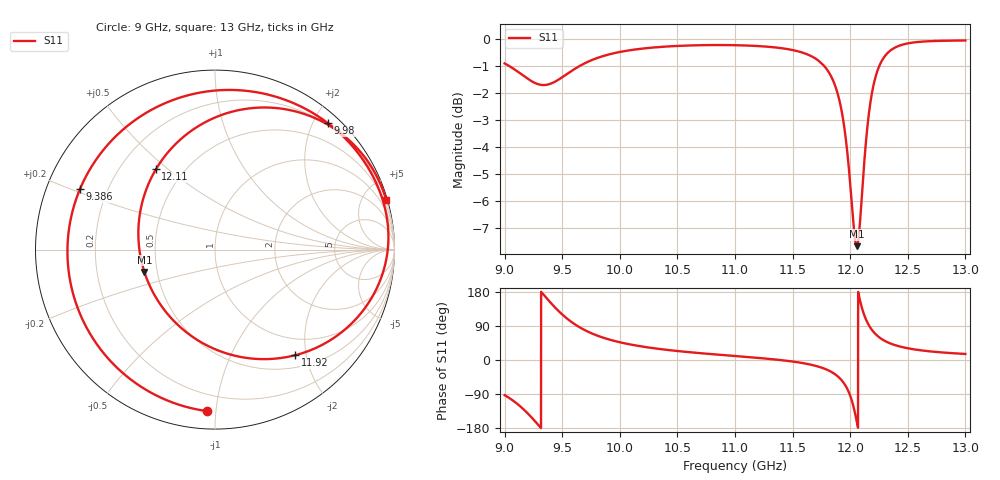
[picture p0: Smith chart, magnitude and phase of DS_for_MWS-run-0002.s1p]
! TOUCHSTONE file generated by CST DESIGN STUDIO
! Date and time: Wed Feb  5 13:44:13 2025
! Project name: C:\Work\MatlabApps\UnitCellOptimizationMatlab\CST\unitcell.cst
! Tree item: Tasks\Sweep1\SPara1\S-Parameters
! Header version: 2024
! Port assignment regex: !\s*Touchstone port\s*([0-9]+)\s*=\s*(CST MWS port|CST DES external port|CST DES block port)\s*(.+)\s* \(\"(.*)\"\)(\s*mode\s*([0-9]+))?.*
! Touchstone port assignment:
! Touchstone port 1 = CST DES external port 1 ("")
# GHz S MA R 50
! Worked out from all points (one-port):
!   4001 points, 9 GHz to 13 GHz, reference 50 ohm
!   lowest |S11| = -7.7 dB at 12.06 GHz (marker M1), VSWR 2.40, Z = 21.2 - j6.4 ohm
!   |S11| at or under -10 dB: nowhere
!   S11 on the Smith chart (normalised r, x): 9 GHz: 0.10, -0.95; 9.386 GHz: 0.10, +0.21; 9.98 GHz: 0.17, +2.22; 11.92 GHz: 0.70, -1.80; 12.11 GHz: 0.35, +0.45; 13 GHz: 0.16, +7.11
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9  0.9011 -92.7
9.093  0.8762 -111.7
9.176  0.8511 -133.5
9.287  0.825 -169.5
9.386  0.8244 155.7
9.5  0.8494 120.2
9.601  0.8781 95.9
9.73  0.9088 73.8
9.98  0.9443 48.3
10  0.9462 46.8
10.5  0.9709 23.7
11  0.974 10.5
11.5  0.9541 -4.0
11.778  0.8892 -23.1
11.86  0.8291 -35.8
11.924  0.7385 -52.9
11.967  0.6388 -71.7
12  0.5384 -94.1
12.028  0.4538 -122.4
12.057  0.4126 -162.3
12.084  0.4538 158.8
12.113  0.5554 126.4
12.144  0.6698 102.3
12.178  0.769 83.9
12.275  0.9117 54.9
12.369  0.9587 41.3
12.5  0.9816 30.9
13  0.994 16.0
